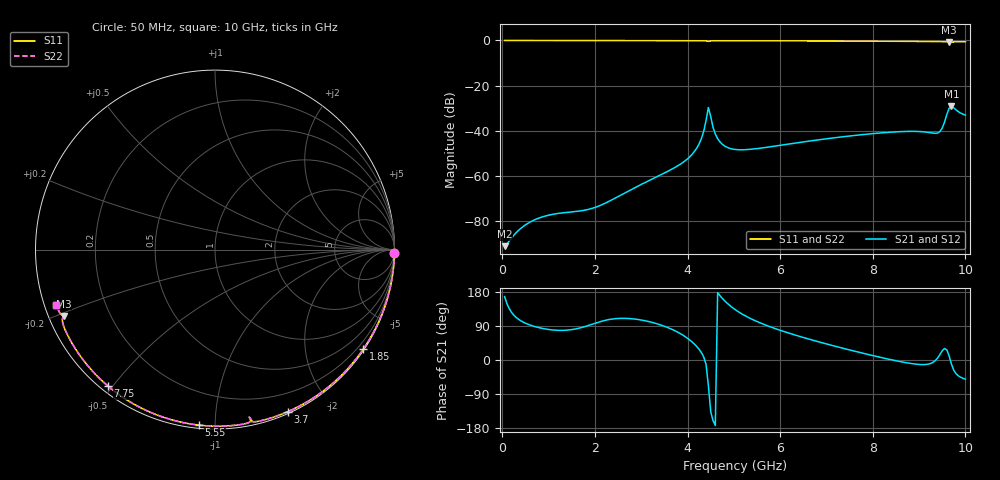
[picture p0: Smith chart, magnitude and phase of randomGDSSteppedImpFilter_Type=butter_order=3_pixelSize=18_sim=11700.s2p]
! freq	dB(S11)	phase(S11)	dB(S12)	phase(S12)
!  dB(S21)	phase(S21)	dB(S22)	phase(S22)
!S-par simulation data
#  GHz  S  DB  R 50
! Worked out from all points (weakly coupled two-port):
!   200 points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, 50 MHz to 10 GHz, reference 50 ohm
!   highest |S21| = -29.16 dB at 9.7 GHz (marker M1); lowest = -91.0 dB at 50 MHz (marker M2)
!   lowest |S11| = -0.7 dB at 9.65 GHz (marker M3), VSWR 23.77, Z = 2.2 - j10.5 ohm
!   |S11| at or under -10 dB: nowhere
!   |S22| runs from -0.7 to 0.0 dB; largest |S21 - S12| = 0
!   S11 on the Smith chart (normalised r, x): 50 MHz: open; 1.85 GHz: 0.03, -3.29; 3.7 GHz: 0.02, -1.54; 5.55 GHz: 0.02, -0.91; 7.75 GHz: 0.02, -0.49; 10 GHz: 0.03, -0.17
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0.05  -0.00 -0.9  -91.00 167.4  -91.00 167.4  -0.00 -0.9
0.6  -0.01 -11.1  -80.33 92.2  -80.33 92.2  -0.01 -11.1
1.75  -0.04 -32.1  -75.20 87.0  -75.20 87.0  -0.04 -32.1
1.85  -0.04 -33.8  -74.77 90.8  -74.77 90.8  -0.04 -33.8
3.4  -0.08 -60.8  -59.66 93.3  -59.66 93.3  -0.08 -60.8
3.7  -0.09 -65.9  -56.49 78.9  -56.49 78.9  -0.09 -65.8
4.2  -0.11 -74.3  -47.59 35.4  -47.59 35.4  -0.11 -74.2
4.35  -0.14 -77.0  -40.15 8.0  -40.15 8.0  -0.14 -77.0
4.45  -0.42 -78.4  -29.66 -67.4  -29.66 -67.4  -0.42 -78.4
4.55  -0.15 -79.0  -38.38 -159.9  -38.38 -159.9  -0.15 -79.0
4.65  -0.13 -80.9  -43.42 177.7  -43.42 177.7  -0.13 -80.9
4.8  -0.13 -83.4  -46.68 156.3  -46.68 156.3  -0.13 -83.4
5.05  -0.14 -87.4  -48.25 131.3  -48.25 131.3  -0.14 -87.4
5.55  -0.16 -95.3  -47.71 98.9  -47.71 98.9  -0.16 -95.2
6.7  -0.22 -112.6  -44.31 52.4  -44.31 52.4  -0.22 -112.6
7.75  -0.30 -128.1  -41.71 19.0  -41.71 19.0  -0.30 -128.1
8.35  -0.35 -136.9  -40.62 1.9  -40.62 1.9  -0.35 -136.9
9.4  -0.49 -152.7  -40.94 5.2  -40.94 5.2  -0.49 -152.7
9.5  -0.53 -154.5  -38.75 24.5  -38.75 24.5  -0.53 -154.4
9.65  -0.73 -156.3  -29.94 10.2  -29.94 10.2  -0.73 -156.3
9.7  -0.72 -156.3  -29.16 -11.4  -29.16 -11.4  -0.72 -156.3
10  -0.57 -160.9  -32.99 -50.5  -32.99 -50.5  -0.57 -160.8
